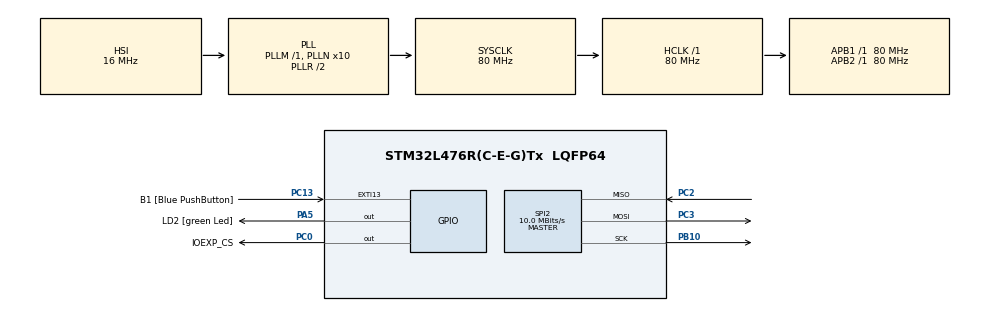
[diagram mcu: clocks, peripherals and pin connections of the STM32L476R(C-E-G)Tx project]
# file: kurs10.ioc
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Mcu.Family=STM32L4
Mcu.Name=STM32L476R(C-E-G)Tx
Mcu.Package=LQFP64
NVIC.EXTI15_10_IRQn=true\:2\:0\:true\:false\:true\:true\:true\:true
NVIC.PriorityGroup=NVIC_PRIORITYGROUP_4
PA13\ (JTMS-SWDIO).GPIO_Label=TMS
PA13\ (JTMS-SWDIO).Mode=Serial_Wire
PA13\ (JTMS-SWDIO).Signal=SYS_JTMS-SWDIO
PA14\ (JTCK-SWCLK).GPIO_Label=TCK
PA14\ (JTCK-SWCLK).Mode=Serial_Wire
PA14\ (JTCK-SWCLK).Signal=SYS_JTCK-SWCLK
PA2.GPIO_Label=USART_TX
PA2.GPIO_Mode=GPIO_MODE_AF_PP
PA2.GPIO_PuPd=GPIO_NOPULL
PA2.GPIO_Speed=GPIO_SPEED_FREQ_VERY_HIGH
PA2.Signal=USART2_TX
PA3.GPIO_Label=USART_RX
PA3.GPIO_Mode=GPIO_MODE_AF_PP
PA3.GPIO_PuPd=GPIO_NOPULL
PA3.GPIO_Speed=GPIO_SPEED_FREQ_VERY_HIGH
PA3.Signal=USART2_RX
PA5.GPIO_Label=LD2 [green Led]
PA5.GPIO_ModeDefaultOutputPP=GPIO_MODE_OUTPUT_PP
PA5.GPIO_PuPd=GPIO_NOPULL
PA5.GPIO_Speed=GPIO_SPEED_FREQ_LOW
PA5.Signal=GPIO_Output
PB10.Mode=Full_Duplex_Master
PB10.Signal=SPI2_SCK
PB3\ (JTDO-TRACESWO).GPIO_Label=SWO
PB3\ (JTDO-TRACESWO).Signal=SYS_JTDO-SWO
PC0.GPIO_Label=IOEXP_CS
PC0.PinState=GPIO_PIN_SET
PC0.Signal=GPIO_Output
PC13.GPIO_Label=B1 [Blue PushButton]
PC13.GPIO_ModeDefaultEXTI=GPIO_MODE_IT_FALLING
PC13.GPIO_PuPd=GPIO_NOPULL
PC13.Signal=GPXTI13
PC14-OSC32_IN\ (PC14).Signal=RCC_OSC32_IN
PC15-OSC32_OUT\ (PC15).Signal=RCC_OSC32_OUT
PC2.Mode=Full_Duplex_Master
PC2.Signal=SPI2_MISO
PC3.Mode=Full_Duplex_Master
PC3.Signal=SPI2_MOSI
PH0-OSC_IN\ (PH0).Signal=RCC_OSC_IN
PH1-OSC_OUT\ (PH1).Signal=RCC_OSC_OUT
ProjectManager.HeapSize=0x200
ProjectManager.StackSize=0x400
ProjectManager.TargetToolchain=STM32CubeIDE
RCC.ADCFreq_Value=64000000
RCC.AHBFreq_Value=80000000
RCC.APB1Freq_Value=80000000
RCC.APB1TimFreq_Value=80000000
RCC.APB2Freq_Value=80000000
RCC.APB2TimFreq_Value=80000000
RCC.CortexFreq_Value=80000000
RCC.HCLKFreq_Value=80000000
RCC.HSE_VALUE=8000000
RCC.HSI_VALUE=16000000
RCC.LSE_VALUE=32768
RCC.MSI_VALUE=4000000
RCC.PLLN=10
RCC.PLLSourceVirtual=RCC_PLLSOURCE_HSI
RCC.SYSCLKFreq_VALUE=80000000
RCC.SYSCLKSource=RCC_SYSCLKSOURCE_PLLCLK
RCC.USBFreq_Value=64000000
RCC.VCOOutputFreq_Value=160000000
SPI2.BaudRatePrescaler=SPI_BAUDRATEPRESCALER_8
SPI2.CalculateBaudRate=10.0 MBits/s
SPI2.DataSize=SPI_DATASIZE_8BIT
SPI2.Direction=SPI_DIRECTION_2LINES
SPI2.Mode=SPI_MODE_MASTER
SPI2.VirtualType=VM_MASTER
board=NUCLEO-L476RG

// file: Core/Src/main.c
/* USER CODE BEGIN Header */
/**
  ******************************************************************************
  * @file           : main.c
  * @brief          : Main program body
  ******************************************************************************
  * @attention
  *
  * Copyright (c) 2024 STMicroelectronics.
  * All rights reserved.
  *
  * This software is licensed under terms that can be found in the LICENSE file
  * in the root directory of this software component.
  * If no LICENSE file comes with this software, it is provided AS-IS.
  *
  ******************************************************************************
  */
/* USER CODE END Header */
#include "main.h"
#include "spi.h"
#include "gpio.h"
#include "mcp23s08.h"

void SystemClock_Config(void);

/* USER CODE BEGIN 0 */
void HAL_GPIO_EXTI_Callback(uint16_t GPIO_Pin) {
    if (GPIO_Pin == B1_Pin) { // Sprawdzanie, który pin wywołał przerwanie
        MCP_GPIO_WritePin(2,1); // Wywołanie funkcji
    }
}

/* USER CODE END 0 */

int main(void)
{

  /* MCU Configuration--------------------------------------------------------*/

  /* Reset of all peripherals, Initializes the Flash interface and the Systick. */
  HAL_Init();

  /* Configure the system clock */
  SystemClock_Config();

  /* Initialize all configured peripherals */
  MX_GPIO_Init();
  MX_SPI2_Init();

  /* Infinite loop */
  /* USER CODE BEGIN WHILE */
  // ustaw GP0 jako wyjście
  SPI_Transmit(MCP_IODIR, 0xFA);
  // włącz rezystor podciągający dla GP1
  SPI_Transmit(MCP_GPPU, 0x02);

  while (1)
  {
    if ((mcp_reg_read(MCP_GPIO) & 0x02) == 0) {
      // włącz diodę
    	SPI_Transmit(MCP_OLAT, 0x01);

    	//change
    	uint8_t reg = 0x0A;
    	uint8_t value = 0;

    	switch(1){
    		case 0: value = 0x00; break;
    		case 1: value = 0x05; break;
    		default: break;
    		}

    	uint8_t tx[3] = { 0x40, reg, value};

    	HAL_GPIO_WritePin(IOEXP_CS_GPIO_Port, IOEXP_CS_Pin, GPIO_PIN_RESET);
    	HAL_SPI_Transmit(&hspi2, tx, 3, HAL_MAX_DELAY);
    	HAL_GPIO_WritePin(IOEXP_CS_GPIO_Port, IOEXP_CS_Pin, GPIO_PIN_SET);

    } else {
      // wyłącz diodę
    	SPI_Transmit(MCP_OLAT, 0x00);
    }

    /* USER CODE END WHILE */

  }
}

void SystemClock_Config(void)
{
  RCC_OscInitTypeDef RCC_OscInitStruct = {0};
  RCC_ClkInitTypeDef RCC_ClkInitStruct = {0};

  /** Configure the main internal regulator output voltage
  */
  if (HAL_PWREx_ControlVoltageScaling(PWR_REGULATOR_VOLTAGE_SCALE1) != HAL_OK)
  {
    Error_Handler();
  }

  /** Initializes the RCC Oscillators according to the specified parameters
  * in the RCC_OscInitTypeDef structure.
  */
  RCC_OscInitStruct.OscillatorType = RCC_OSCILLATORTYPE_HSI;
  RCC_OscInitStruct.HSIState = RCC_HSI_ON;
  RCC_OscInitStruct.HSICalibrationValue = RCC_HSICALIBRATION_DEFAULT;
  RCC_OscInitStruct.PLL.PLLState = RCC_PLL_ON;
  RCC_OscInitStruct.PLL.PLLSource = RCC_PLLSOURCE_HSI;
  RCC_OscInitStruct.PLL.PLLM = 1;
  RCC_OscInitStruct.PLL.PLLN = 10;
  RCC_OscInitStruct.PLL.PLLP = RCC_PLLP_DIV7;
  RCC_OscInitStruct.PLL.PLLQ = RCC_PLLQ_DIV2;
  RCC_OscInitStruct.PLL.PLLR = RCC_PLLR_DIV2;
  if (HAL_RCC_OscConfig(&RCC_OscInitStruct) != HAL_OK)
  {
    Error_Handler();
  }

  /** Initializes the CPU, AHB and APB buses clocks
  */
  RCC_ClkInitStruct.ClockType = RCC_CLOCKTYPE_HCLK|RCC_CLOCKTYPE_SYSCLK
                              |RCC_CLOCKTYPE_PCLK1|RCC_CLOCKTYPE_PCLK2;
  RCC_ClkInitStruct.SYSCLKSource = RCC_SYSCLKSOURCE_PLLCLK;
  RCC_ClkInitStruct.AHBCLKDivider = RCC_SYSCLK_DIV1;
  RCC_ClkInitStruct.APB1CLKDivider = RCC_HCLK_DIV1;
  RCC_ClkInitStruct.APB2CLKDivider = RCC_HCLK_DIV1;

  if (HAL_RCC_ClockConfig(&RCC_ClkInitStruct, FLASH_LATENCY_4) != HAL_OK)
  {
    Error_Handler();
  }
}

void Error_Handler(void)
{
  __disable_irq();
  while (1)
  {
  }
}
